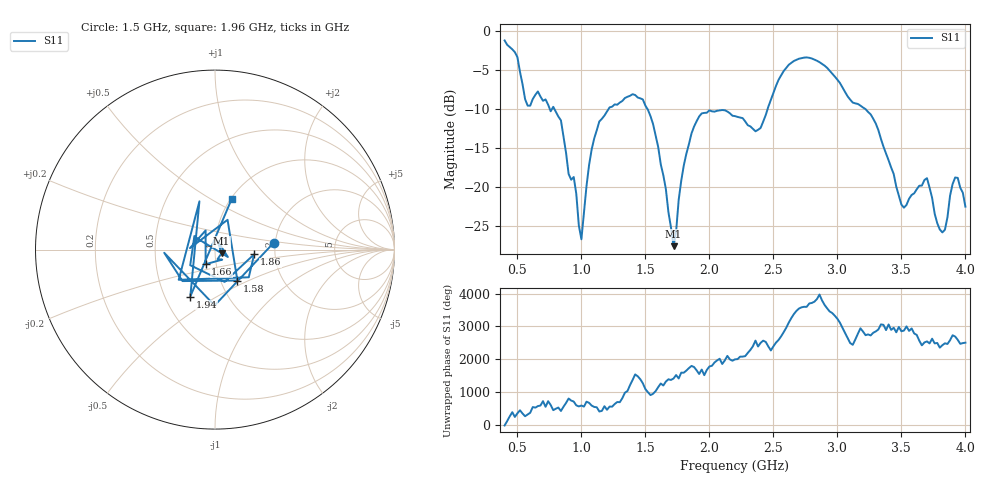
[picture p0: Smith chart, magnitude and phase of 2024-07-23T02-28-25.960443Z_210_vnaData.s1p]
!Created with skrf (http://scikit-rf.org).
# Hz S RI R 50.0
!freq ReS11 ImS11
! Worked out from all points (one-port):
!   181 points, 400 MHz to 4 GHz, reference 50 ohm
!   lowest |S11| = -27.6 dB at 1.72 GHz (marker M1), VSWR 1.09, Z = 53.7 - j2.2 ohm
!   |S11| at or under -10 dB: 788 MHz to 1.213 GHz (425.4 MHz wide, 42.5 % of centre); 1.515 GHz to 2.455 GHz (940.5 MHz wide, 47.4 % of centre); 3.215 GHz to end of sweep (the widest 3 of 4)
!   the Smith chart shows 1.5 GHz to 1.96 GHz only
!   S11 on the Smith chart (normalised r, x): 1.5 GHz: 1.97, +0.17; 1.58 GHz: 1.20, -0.43; 1.66 GHz: 0.89, -0.15; 1.86 GHz: 1.56, -0.08; 1.94 GHz: 0.67, -0.38; 1.96 GHz: 1.01, +0.63
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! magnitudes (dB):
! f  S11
! 400 MHz  -1.3
! 500 MHz  -3.4
! 580 MHz  -9.6
! 660 MHz  -7.8
! 860 MHz  -13.6
! 940 MHz  -18.7
! 1 GHz  -26.7
! 1.1 GHz  -13.8
! 1.3 GHz  -9.2
! 1.5 GHz  -9.6
! 1.58 GHz  -13.4
! 1.66 GHz  -20.3
! 1.72 GHz  -27.6
! 1.76 GHz  -21.6
! 1.86 GHz  -13.2
! 1.94 GHz  -10.6
! 1.96 GHz  -10.5
! 2.2 GHz  -10.9
! 2.4 GHz  -12.5
! 2.66 GHz  -3.9
! 3.1 GHz  -8.8
! 3.26 GHz  -10.7
! 3.5 GHz  -22.2
! 3.56 GHz  -21.5
! 3.7 GHz  -18.9
! 3.82 GHz  -25.8
! 3.92 GHz  -18.8
! 4 GHz  -22.5
